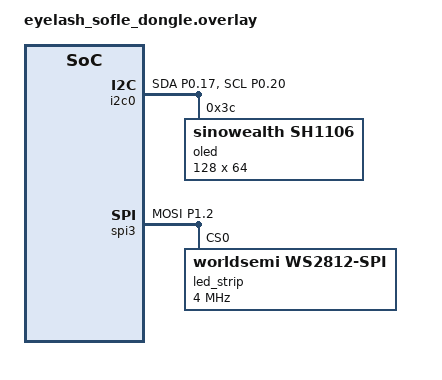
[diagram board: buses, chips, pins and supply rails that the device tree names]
/*
 * Dongle: the seller's custom nRF52840 board (nice!nano v2 compatible pin
 * numbering and bootloader) with a 1.3" 128x64 I2C OLED, a battery, a power
 * switch and a reset button. No keys of its own, so the key scan is a mock;
 * the layout and transform come from the shared dtsi so key positions sent by
 * the halves map onto the keymap.
 *
 * SPDX-License-Identifier: MIT
 */

#include <dt-bindings/led/led.h>
#include "eyelash_sofle.dtsi"

/ {
    chosen {
        zmk,kscan = &mock_kscan;
        zephyr,display = &oled;
        zmk,underglow = &led_strip;
    };

    mock_kscan: kscan_0 {
        compatible = "zmk,kscan-mock";
        columns = <0>;
        rows = <0>;
        events = <0>;
    };
};

/*
 * OLED I2C pins: SDA = P0.17 (a 0-ohm jumper next to the "SDA" silkscreen
 * selects P0.17; P0.21 is the unpopulated alternative), SCL = P0.20. These are
 * the nice!nano defaults, kept explicit so the routing is documented here.
 */
&pinctrl {
    dongle_i2c_default: dongle_i2c_default {
        group1 {
            psels = <NRF_PSEL(TWIM_SDA, 0, 17)>,
                <NRF_PSEL(TWIM_SCL, 0, 20)>;
        };
    };

    dongle_i2c_sleep: dongle_i2c_sleep {
        group1 {
            psels = <NRF_PSEL(TWIM_SDA, 0, 17)>,
                <NRF_PSEL(TWIM_SCL, 0, 20)>;
            low-power-enable;
        };
    };
};

&i2c0 {
    status = "okay";
    pinctrl-0 = <&dongle_i2c_default>;
    pinctrl-1 = <&dongle_i2c_sleep>;
    pinctrl-names = "default", "sleep";

    oled: oled@3c {
        compatible = "sinowealth,sh1106";
        reg = <0x3c>;
        width = <128>;
        height = <64>;
        /* SH1106 has a 132-column RAM; the 128-px panel is centered. */
        segment-offset = <2>;
        page-offset = <0>;
        display-offset = <0>;
        multiplex-ratio = <63>;
        segment-remap;
        com-invdir;
        inversion-on;
        prechargep = <0x22>;
    };
};

/*
 * The dongle has no LEDs, but RGB underglow is a "global" behavior: the
 * central runs it and forwards it to the halves, so the behavior must be
 * compiled into the dongle for the RGB keys (and ZMK Studio) to work. This
 * one-LED strip on P1.02, a pin the nice!nano pinout does not expose, only
 * exists to satisfy the underglow driver.
 */
&pinctrl {
    dongle_dummy_spi_default: dongle_dummy_spi_default {
        group1 {
            psels = <NRF_PSEL(SPIM_MOSI, 1, 2)>;
        };
    };

    dongle_dummy_spi_sleep: dongle_dummy_spi_sleep {
        group1 {
            psels = <NRF_PSEL(SPIM_MOSI, 1, 2)>;
            low-power-enable;
        };
    };
};

&spi3 {
    compatible = "nordic,nrf-spim";
    status = "okay";
    pinctrl-0 = <&dongle_dummy_spi_default>;
    pinctrl-1 = <&dongle_dummy_spi_sleep>;
    pinctrl-names = "default", "sleep";

    led_strip: ws2812@0 {
        compatible = "worldsemi,ws2812-spi";
        reg = <0>;
        spi-max-frequency = <4000000>;
        chain-length = <1>;
        spi-one-frame = <0x70>;
        spi-zero-frame = <0x40>;
        color-mapping = <LED_COLOR_ID_GREEN LED_COLOR_ID_RED LED_COLOR_ID_BLUE>;
    };
};
